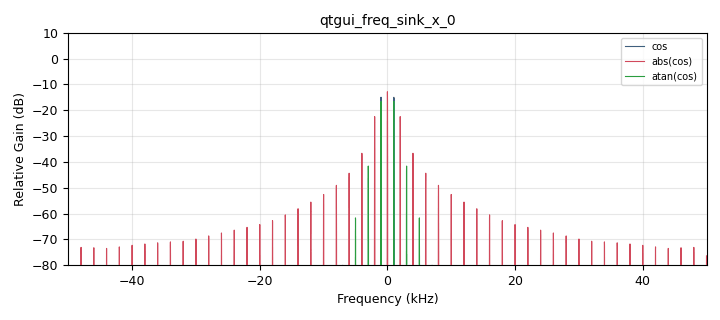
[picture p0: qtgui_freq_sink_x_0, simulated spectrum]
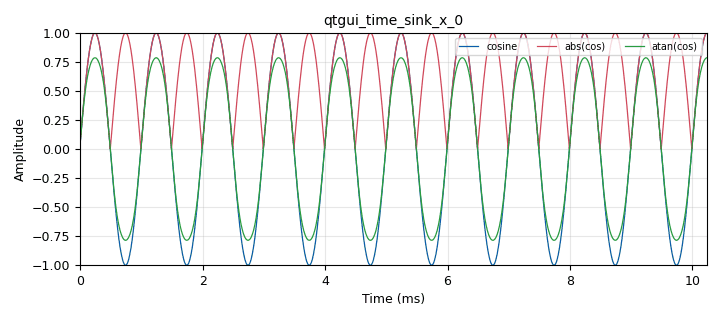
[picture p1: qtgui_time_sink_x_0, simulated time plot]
options:
  parameters:
    author: jason
    generate_options: qt_gui
    generator_class_name: PythonQtGuiGenerator
    generator_module: gnuradio.grc.workflows.python_qt_gui
    id: lesson03hw5_complexPlotsHarmonics
    output_language: python
    title: complexPlotsMultiplyCosines
  states: {}

blocks:
- name: atan_gain
  id: variable_qtgui_range
  parameters:
    start: '0'
    step: '.1'
    stop: '10'
    value: '1'
  states: {}
- name: freq
  id: variable_qtgui_range
  parameters:
    start: '-samp_rate'
    step: '1'
    stop: samp_rate
    value: samp_rate/100
  states: {}
- name: samp_rate
  id: variable
  parameters:
    value: 100e3
  states: {}
- name: analog_sig_source_x_0
  id: analog_sig_source_x
  parameters:
    amp: '1'
    freq: freq
    offset: '0'
    phase: '0'
    samp_rate: samp_rate
    type: float
    waveform: analog.GR_COS_WAVE
  states: {}
- name: blocks_abs_xx_0
  id: blocks_abs_xx
  parameters:
    type: float
  states: {}
- name: blocks_multiply_const_vxx_0
  id: blocks_multiply_const_vxx
  parameters:
    const: atan_gain
    type: float
  states: {}
- name: blocks_throttle_0
  id: blocks_throttle2
  parameters:
    samples_per_second: samp_rate
    type: float
  states: {}
- name: blocks_transcendental_0
  id: blocks_transcendental
  parameters:
    name: atan
    type: float
  states: {}
- name: qtgui_freq_sink_x_0
  id: qtgui_freq_sink_x
  parameters:
    bw: samp_rate
    fc: '0'
    fftsize: 1024*8
    label1: cos
    label2: abs(cos)
    label3: atan(cos)
    nconnections: '3'
    type: float
    ymin: '-80'
  states: {}
- name: qtgui_time_sink_x_0
  id: qtgui_time_sink_x
  parameters:
    label1: cosine
    label2: abs(cos)
    label3: atan(cos)
    nconnections: '3'
    size: '1024'
    srate: samp_rate
    type: float
  states: {}

connections:
- [analog_sig_source_x_0, '0', blocks_throttle_0, '0']
- [blocks_abs_xx_0, '0', qtgui_freq_sink_x_0, '1']
- [blocks_abs_xx_0, '0', qtgui_time_sink_x_0, '1']
- [blocks_multiply_const_vxx_0, '0', blocks_transcendental_0, '0']
- [blocks_throttle_0, '0', blocks_abs_xx_0, '0']
- [blocks_throttle_0, '0', blocks_multiply_const_vxx_0, '0']
- [blocks_throttle_0, '0', qtgui_freq_sink_x_0, '0']
- [blocks_throttle_0, '0', qtgui_time_sink_x_0, '0']
- [blocks_transcendental_0, '0', qtgui_freq_sink_x_0, '2']
- [blocks_transcendental_0, '0', qtgui_time_sink_x_0, '2']

metadata:
  file_format: 1
  grc_version: 3.10.12.0
